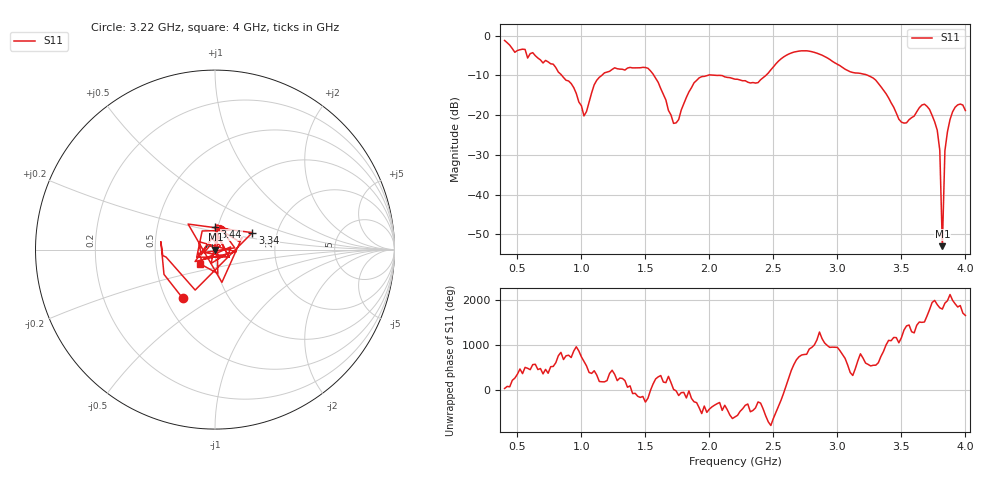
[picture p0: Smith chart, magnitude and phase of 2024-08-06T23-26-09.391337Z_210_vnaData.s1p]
!Created with skrf (http://scikit-rf.org).
# Hz S RI R 50.0
!freq ReS11 ImS11
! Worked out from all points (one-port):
!   181 points, 400 MHz to 4 GHz, reference 50 ohm
!   lowest |S11| = -53.0 dB at 3.82 GHz (marker M1), VSWR 1.00, Z = 50.2 + j0.0243 ohm
!   |S11| at or under -10 dB: 1.567 GHz to 1.985 GHz (418.5 MHz wide, 23.6 % of centre); 2.088 GHz to 2.441 GHz (353.2 MHz wide, 15.6 % of centre); 3.239 GHz to end of sweep (the widest 3 of 4)
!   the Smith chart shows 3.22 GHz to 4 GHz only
!   S11 on the Smith chart (normalised r, x): 3.22 GHz: 0.61, -0.37; 3.34 GHz: 1.49, +0.30; 3.44 GHz: 0.97, +0.25; 4 GHz: 0.84, -0.14
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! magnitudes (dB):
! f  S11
! 400 MHz  -1.2
! 860 MHz  -10.5
! 940 MHz  -13.0
! 1.02 GHz  -20.2
! 1.12 GHz  -11.2
! 1.3 GHz  -8.4
! 1.52 GHz  -8.2
! 1.6 GHz  -11.7
! 1.72 GHz  -22.1
! 1.76 GHz  -21.1
! 1.92 GHz  -10.6
! 2.2 GHz  -10.9
! 2.38 GHz  -11.8
! 2.66 GHz  -4.1
! 3.1 GHz  -9.1
! 3.22 GHz  -9.8
! 3.34 GHz  -12.8
! 3.44 GHz  -18.0
! 3.5 GHz  -21.7
! 3.56 GHz  -21.1
! 3.68 GHz  -17.2
! 3.78 GHz  -23.8
! 3.8 GHz  -28.8
! 3.82 GHz  -53.0
! 3.84 GHz  -28.9
! 3.86 GHz  -24.1
! 3.92 GHz  -18.0
! 4 GHz  -18.8
